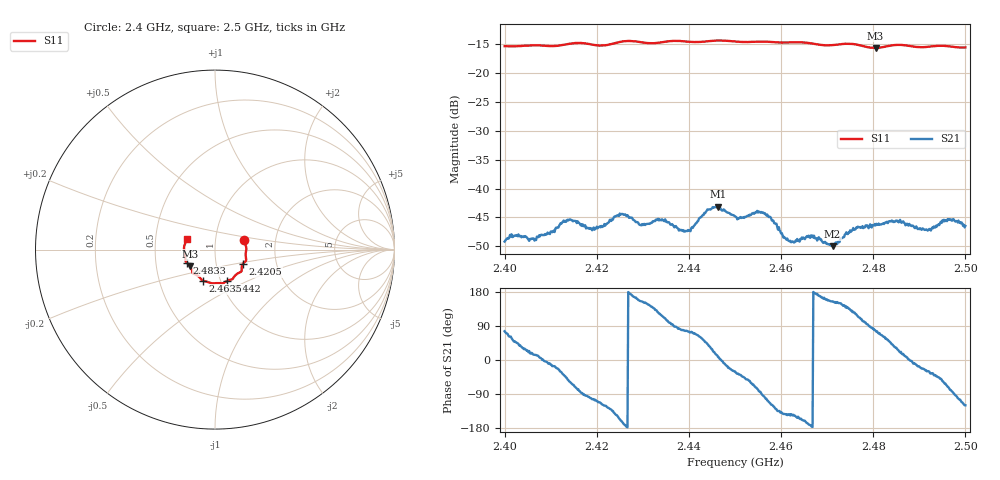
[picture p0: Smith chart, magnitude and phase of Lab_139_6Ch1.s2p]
# Hz S RI R 50
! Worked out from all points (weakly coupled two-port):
!   601 points, 2.4 GHz to 2.5 GHz, reference 50 ohm
!   highest |S21| = -43.14 dB at 2.4463 GHz (marker M1); lowest = -50.0 dB at 2.4712 GHz (marker M2)
!   lowest |S11| = -15.6 dB at 2.4805 GHz (marker M3), VSWR 1.40, Z = 37.3 - j7.1 ohm
!   |S11| at or under -10 dB: start of sweep to end of sweep
!   S12 and S22 are empty: the file has one direction only
!   S11 on the Smith chart (normalised r, x): 2.4 GHz: 1.38, +0.15; 2.4205 GHz: 1.35, -0.22; 2.442 GHz: 1.08, -0.39; 2.4635 GHz: 0.83, -0.30; 2.4833 GHz: 0.72, -0.11; 2.5 GHz: 0.72, +0.09
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2.4e9  0.1639 0.0518  0.000849 0.00337  0 0  0 0
2.406333e9  0.1747 0.00846  0.00358 0.0009  0 0  0 0
2.414e9  0.1729 -0.0498  0.00299 -0.00448  0 0  0 0
2.416667e9  0.1722 -0.0623  0.000268 -0.00492  0 0  0 0
2.4205e9  0.1548 -0.0797  -0.00169 -0.00433  0 0  0 0
2.4255e9  0.1489 -0.116  -0.00576 -0.00175  0 0  0 0
2.429667e9  0.134 -0.1289  -0.00434 0.00205  0 0  0 0
2.433333e9  0.1092 -0.1479  -0.00316 0.00447  0 0  0 0
2.439167e9  0.0888 -0.167  0.000983 0.00412  0 0  0 0
2.442e9  0.0692 -0.1736  0.00223 0.00473  0 0  0 0
2.446333e9  0.0456 -0.1872  0.00691 0.00092  0 0  0 0
2.45e9  0.0264 -0.1869  0.00498 -0.00289  0 0  0 0
2.456167e9  -0.0161 -0.1876  -0.000552 -0.00617  0 0  0 0
2.461e9  -0.0501 -0.1781  -0.00296 -0.00218  0 0  0 0
2.4635e9  -0.0656 -0.1739  -0.00325 -0.00169  0 0  0 0
2.466667e9  -0.0776 -0.1642  -0.00384 -0.000272  0 0  0 0
2.471167e9  -0.1055 -0.1403  -0.00287 0.00135  0 0  0 0
2.4805e9  -0.1377 -0.0925  0.00106 0.00468  0 0  0 0
2.483333e9  -0.1556 -0.0748  0.00329 0.00399  0 0  0 0
2.4915e9  -0.1686 -0.0134  0.00395 -0.00202  0 0  0 0
2.496333e9  -0.1699 0.0245  0.00165 -0.00509  0 0  0 0
2.5e9  -0.1568 0.0592  -0.00236 -0.00413  0 0  0 0
